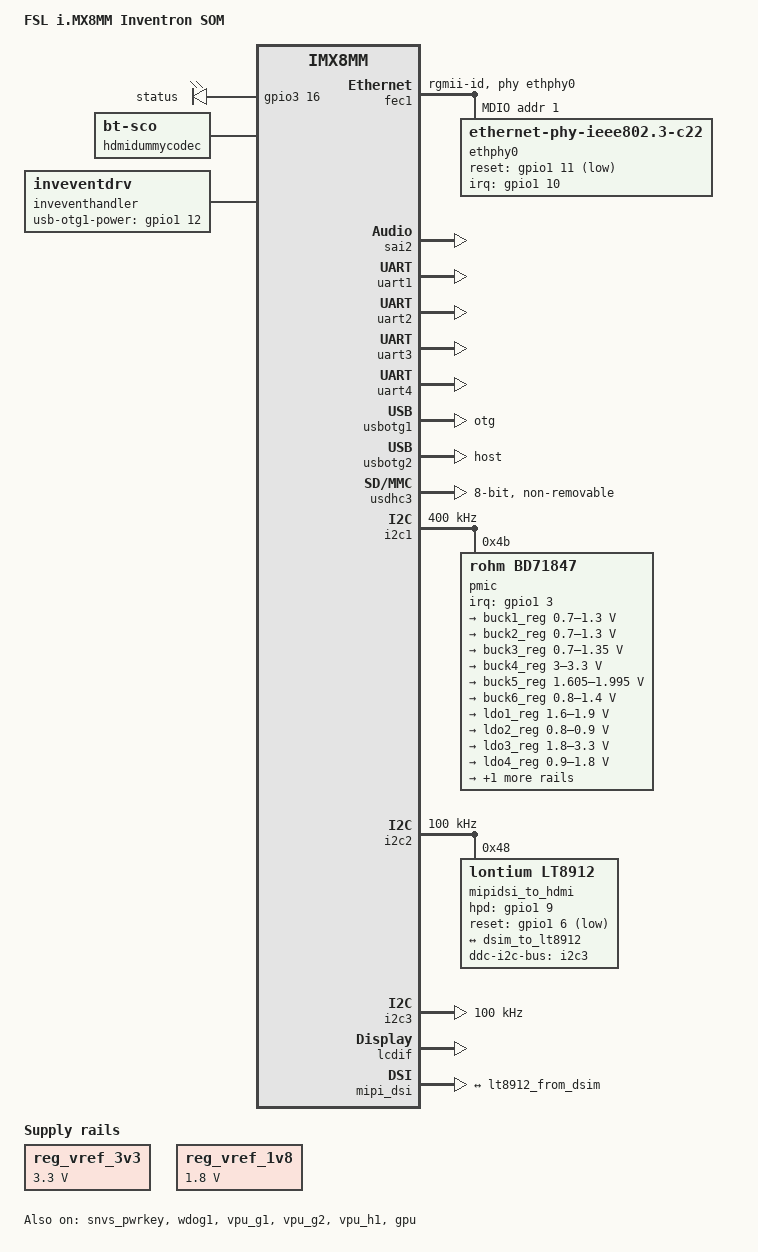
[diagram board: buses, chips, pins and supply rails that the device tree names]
// SPDX-License-Identifier: (GPL-2.0+ OR MIT)
/*
 * Copyright 2019 NXP
 */

/dts-v1/;

#include <dt-bindings/usb/pd.h>
#include "imx8mm-invsom.dtsi"

/ {
	model = "FSL i.MX8MM Inventron SOM";
	compatible = "fsl,imx8mm-invsom", "fsl,imx8mm";

	reserved-memory {
		#address-cells = <2>;
		#size-cells = <2>;
		ranges;

		rpmsg_reserved: rpmsg@0xb8000000 {
			no-map;
			reg = <0 0xb8000000 0 0x400000>;
		};
	};

	chosen {
		stdout-path = &uart4;
	};

	leds {
		compatible = "gpio-leds";
		pinctrl-names = "default";
		pinctrl-0 = <&pinctrl_gpio_led>;
		status = "okay";
		status {
			label = "status";
			gpios = <&gpio3 16 GPIO_ACTIVE_HIGH>;
			default-state = "on";
			linux,default-trigger = "heartbeat";
		};
	};

	reg_vref_3v3: regulator-vref {
	  	compatible = "regulator-fixed";
	  	regulator-name = "vref-3v3";
	  	regulator-min-microvolt = <3300000>;
	  	regulator-max-microvolt = <3300000>;
	  	regulator-always-on;
	 	regulator-boot-on;		  
	};
	
	reg_vref_1v8: regulator-vref-1v8 { /* V1.8 */
		compatible = "regulator-fixed";
		regulator-name = "vref-1v8";
		regulator-min-microvolt = <1800000>;
		regulator-max-microvolt = <1800000>;
		regulator-always-on;
	  	regulator-boot-on;		  
	};

	sound-i2s {
		compatible = "simple-audio-card";
		simple-audio-card,name = "i2s-hdmi-audio";
		simple-audio-card,format = "i2s";
		simple-audio-card,bitclock-master = <&dailinkhdmi_master>;
		simple-audio-card,frame-master = <&dailinkhdmi_master>;
		status = "okay";
		
		simple-audio-card,widgets =
	 		"Headphone", "Headphone Jack";
	 	simple-audio-card,routing =
	 		"Headphone Jack", "TX";

		dailinkhdmi_master: simple-audio-card,cpu {
			sound-dai = <&sai2>;
			dai-tdm-slot-num = <2>;
			dai-tdm-slot-width = <32>;
		};

		simple-audio-card,codec {
			sound-dai = <&hdmidummycodec>;
			clocks = <&clk IMX8MM_CLK_SAI2_ROOT>;
		};
	};

	hdmidummycodec: codec1 {
		#sound-dai-cells = <0>;
		compatible = "linux,bt-sco";
		status = "okay";
	};

	sound-micfil {
		compatible = "fsl,imx-audio-micfil";
		model = "imx-audio-micfil";
		cpu-dai = <&micfil>;
		status = "okay";
	};
	
	
	inveventhandler {
		compatible = "inveventdrv";
		status = "okay";
		
		usb-otg1-power-gpio = <&gpio1 12 GPIO_ACTIVE_HIGH>;
	};	
};

&A53_0 {
	cpu-supply = <&buck2_reg>;
};

&fec1 {
	pinctrl-names = "default", "sleep";
	pinctrl-0 = <&pinctrl_fec1>;
	pinctrl-1 = <&pinctrl_fec1_sleep>;
	phy-mode = "rgmii-id";
	phy-handle = <&ethphy0>;
	fsl,magic-packet;
	status = "okay";

	mdio {
		#address-cells = <1>;
		#size-cells = <0>;

		ethphy0: ethernet-phy@1 {
			compatible = "ethernet-phy-ieee802.3-c22";
			pinctrl-0 = <&pinctrl_phy_reset>;
			pinctrl-names = "default";
			rtl821x,clkout_en;
			reset-gpios = <&gpio1 11 GPIO_ACTIVE_LOW>;
			reset-assert-us = <10000>;
			reset-deassert-us = <50000>;
			interrupt-parent = <&gpio1>;
			interrupts = <10 IRQ_TYPE_LEVEL_LOW>;
			reg = <1>;
		};
	};
};

&sai2 { // HDMI Sound
	#sound-dai-cells = <0>;
	pinctrl-names = "default";
	pinctrl-0 = <&pinctrl_sai2>;
	assigned-clocks = <&clk IMX8MM_CLK_SAI2>;
	assigned-clock-parents = <&clk IMX8MM_AUDIO_PLL1_OUT>;
	assigned-clock-rates = <24576000>;
	status = "okay";
};

&snvs_pwrkey {
	status = "okay";
};

&uart1 {
	pinctrl-names = "default";
	pinctrl-0 = <&pinctrl_uart1>;
	status = "okay";
};

&uart2 {
	pinctrl-names = "default";
	pinctrl-0 = <&pinctrl_uart2>;
	status = "okay";
};

&uart3 {
	pinctrl-names = "default";
	pinctrl-0 = <&pinctrl_uart3>;
	status = "okay";
};

&uart4 { /* console */
	pinctrl-names = "default";
	pinctrl-0 = <&pinctrl_uart4>;
	status = "okay";
};

&usbotg1 {
	dr_mode = "otg";
	hnp-disable;
	srp-disable;
	adp-disable;
	disable-over-current;
	status = "okay";
};

&usbotg2 {
	dr_mode = "host";
	disable-over-current;
	status = "okay";
};

&usdhc3 { 				// emmc
	pinctrl-names = "default", "state_100mhz", "state_200mhz";
	pinctrl-0 = <&pinctrl_usdhc3>;
	pinctrl-1 = <&pinctrl_usdhc3_100mhz>;
	pinctrl-2 = <&pinctrl_usdhc3_200mhz>;
	bus-width = <8>;
	non-removable;
	status = "okay";
};

&wdog1 {
	pinctrl-names = "default";
	pinctrl-0 = <&pinctrl_wdog>;
	fsl,ext-reset-output;
	status = "okay";
};

&i2c1 {
	clock-frequency = <400000>;
	pinctrl-names = "default";
	pinctrl-0 = <&pinctrl_i2c1>;
	status = "okay";

	pmic@4b {
		compatible = "rohm,bd71847";
		reg = <0x4b>;
		pinctrl-0 = <&pinctrl_pmic>;
		interrupt-parent = <&gpio1>;
		interrupts = <3 GPIO_ACTIVE_LOW>;
		rohm,reset-snvs-powered;

		regulators {
			buck1_reg: BUCK1 {
				regulator-name = "BUCK1";
				regulator-min-microvolt = <700000>;
				regulator-max-microvolt = <1300000>;
				regulator-boot-on;
				regulator-always-on;
				regulator-ramp-delay = <1250>;
			};

			buck2_reg: BUCK2 {
				regulator-name = "BUCK2";
				regulator-min-microvolt = <700000>;
				regulator-max-microvolt = <1300000>;
				regulator-boot-on;
				regulator-always-on;
				regulator-ramp-delay = <1250>;
				rohm,dvs-run-voltage = <1000000>;
				rohm,dvs-idle-voltage = <900000>;
			};

			buck3_reg: BUCK3 {
				// BUCK5 in datasheet
				regulator-name = "BUCK3";
				regulator-min-microvolt = <700000>;
				regulator-max-microvolt = <1350000>;
				regulator-boot-on;
				regulator-always-on;
			};

			buck4_reg: BUCK4 {
				// BUCK6 in datasheet
				regulator-name = "BUCK4";
				regulator-min-microvolt = <3000000>;
				regulator-max-microvolt = <3300000>;
				regulator-boot-on;
				regulator-always-on;
			};

			buck5_reg: BUCK5 {
				// BUCK7 in datasheet
				regulator-name = "BUCK5";
				regulator-min-microvolt = <1605000>;
				regulator-max-microvolt = <1995000>;
				regulator-boot-on;
				regulator-always-on;
			};

			buck6_reg: BUCK6 {
				// BUCK8 in datasheet
				regulator-name = "BUCK6";
				regulator-min-microvolt = <800000>;
				regulator-max-microvolt = <1400000>;
				regulator-boot-on;
				regulator-always-on;
			};

			ldo1_reg: LDO1 {
				regulator-name = "LDO1";
				regulator-min-microvolt = <1600000>;
				regulator-max-microvolt = <1900000>;
				regulator-boot-on;
				regulator-always-on;
			};

			ldo2_reg: LDO2 {
				regulator-name = "LDO2";
				regulator-min-microvolt = <800000>;
				regulator-max-microvolt = <900000>;
				regulator-boot-on;
				regulator-always-on;
			};

			ldo3_reg: LDO3 {
				regulator-name = "LDO3";
				regulator-min-microvolt = <1800000>;
				regulator-max-microvolt = <3300000>;
				regulator-boot-on;
				regulator-always-on;
			};

			ldo4_reg: LDO4 {
				regulator-name = "LDO4";
				regulator-min-microvolt = <900000>;
				regulator-max-microvolt = <1800000>;
				regulator-boot-on;
				regulator-always-on;
			};

			ldo6_reg: LDO6 {
				regulator-name = "LDO6";
				regulator-min-microvolt = <900000>;
				regulator-max-microvolt = <1800000>;
				regulator-boot-on;
				regulator-always-on;
			};
		};
	};
};

&i2c2 {
	clock-frequency = <100000>;
	pinctrl-names = "default";
	pinctrl-0 = <&pinctrl_i2c2>;
	status = "okay";

	mipidsi_to_hdmi: lt8912@48 {
		compatible = "lontium,lt8912";
		pinctrl-names = "default";
		pinctrl-0 = <&pinctrl_gpio_hpd &pinctrl_gpio_reset>;
		reg = <0x48>;
		ddc-i2c-bus = <&i2c3>;
		hpd-gpios = <&gpio1 9 GPIO_ACTIVE_HIGH>;
		reset-gpios = <&gpio1 6 GPIO_ACTIVE_LOW>;
		clocks = <&clk IMX8MM_CLK_CLKO1>;
		clock-names = "hdmi_clk";
		assigned-clocks = <&clk IMX8MM_CLK_CLKO1>;
		assigned-clock-parents = <&clk IMX8MM_SYS_PLL1_200M>;
		assigned-clock-rates = <25000000>;
		status = "okay";
		port {
			lt8912_from_dsim: endpoint {
				remote-endpoint = <&dsim_to_lt8912>;
			};
		};

		display-timings {
			native-mode = <&timing1>;

			timing0: timing0 {
				clock-frequency = <74250000>;
				hactive = <1280>;
				vactive = <720>;
				hfront-porch = <110>;
				hsync-len = <40>;
				hback-porch = <220>;
				vfront-porch = <5>;
				vsync-len = <5>;
				vback-porch = <20>;
				hsync-active = <0>;
				vsync-active = <0>;
				de-active = <0>;
				pixelclk-active = <0>;
				};

			timing1: timing1 {
				clock-frequency = <148500000>;
				hactive = <1920>;
				vactive = <1080>;
				hfront-porch = <88>;
				hsync-len = <44>;
				hback-porch = <148>;
				vfront-porch = <36>;
				vsync-len = <5>;
				vback-porch = <4>;
				hsync-active = <0>;
				vsync-active = <0>;
				de-active = <0>;
				pixelclk-active = <0>;
				};
		};
	};
};

&i2c3 {
	clock-frequency = <100000>;
	pinctrl-names = "default";
	pinctrl-0 = <&pinctrl_i2c3>;
	status = "okay";
};

&i2c4 {
	clock-frequency = <100000>;
	pinctrl-names = "default";
	pinctrl-0 = <&pinctrl_i2c4>;
	status = "disabled";
};

&iomuxc {
	pinctrl-names = "default";
	pinctrl-0 = <&pinctrl_hog_1>;

	pinctrl_hog_1: hoggrp-1 {
		fsl,pins = <
			MX8MM_IOMUXC_ECSPI1_SS0_GPIO5_IO9	   0x184
			MX8MM_IOMUXC_ECSPI1_MISO_GPIO5_IO8	   0x184
			MX8MM_IOMUXC_ECSPI2_SS0_GPIO5_IO13	   0x184
			MX8MM_IOMUXC_ECSPI2_SCLK_GPIO5_IO10	   0x184
			MX8MM_IOMUXC_ECSPI2_MISO_GPIO5_IO12    0x184
			MX8MM_IOMUXC_ECSPI2_MOSI_GPIO5_IO11	   0x184
			MX8MM_IOMUXC_SPDIF_TX_GPIO5_IO3		   0x184
			MX8MM_IOMUXC_SPDIF_RX_GPIO5_IO4		   0x184
			MX8MM_IOMUXC_SPDIF_EXT_CLK_GPIO5_IO5   0x184
			MX8MM_IOMUXC_SAI3_MCLK_GPIO5_IO2	   0x184
			MX8MM_IOMUXC_SAI2_RXFS_GPIO4_IO21	   0x184
			MX8MM_IOMUXC_SD2_WP_GPIO2_IO20		   0x184
			MX8MM_IOMUXC_SD1_STROBE_GPIO2_IO11	   0x184
			MX8MM_IOMUXC_GPIO1_IO01_GPIO1_IO1	   0x184
			MX8MM_IOMUXC_GPIO1_IO05_GPIO1_IO5	   0x184
			MX8MM_IOMUXC_SAI2_RXD0_GPIO4_IO23	   0x184
			MX8MM_IOMUXC_SAI2_MCLK_GPIO4_IO27	   0x184
			MX8MM_IOMUXC_SAI3_RXFS_GPIO4_IO28	   0x184
			MX8MM_IOMUXC_SAI5_RXFS_GPIO3_IO19	   0x184
			MX8MM_IOMUXC_SAI5_RXD3_GPIO3_IO24	   0x184
			MX8MM_IOMUXC_SAI5_RXC_GPIO3_IO20	   0x184
			MX8MM_IOMUXC_SAI5_RXD0_GPIO3_IO21	   0x184
			MX8MM_IOMUXC_SAI5_RXD1_GPIO3_IO22	   0x184
			MX8MM_IOMUXC_SAI5_RXD2_GPIO3_IO23	   0x184
			MX8MM_IOMUXC_SAI3_RXC_GPIO4_IO29	   0x184
			MX8MM_IOMUXC_SAI5_MCLK_GPIO3_IO25	   0x184
			MX8MM_IOMUXC_SAI2_RXC_GPIO4_IO22	   0x184
			MX8MM_IOMUXC_SAI3_RXD_GPIO4_IO30	   0x184
			MX8MM_IOMUXC_SAI3_TXD_GPIO5_IO1		   0x184
			MX8MM_IOMUXC_SAI3_TXC_GPIO5_IO0		   0x184
			MX8MM_IOMUXC_SAI3_TXFS_GPIO4_IO31	   0x184
			MX8MM_IOMUXC_GPIO1_IO15_GPIO1_IO15	   0x184
			MX8MM_IOMUXC_SAI1_TXFS_GPIO4_IO10	   0x184
			MX8MM_IOMUXC_SAI1_TXC_GPIO4_IO11	   0x184
			MX8MM_IOMUXC_SAI1_MCLK_GPIO4_IO20	   0x184
			MX8MM_IOMUXC_SAI1_RXFS_GPIO4_IO0	   0x184
			MX8MM_IOMUXC_SAI1_RXC_GPIO4_IO1		   0x184
			MX8MM_IOMUXC_GPIO1_IO08_GPIO1_IO8	   0x184
			MX8MM_IOMUXC_SD1_DATA0_GPIO2_IO2	   0x184
			MX8MM_IOMUXC_SD1_DATA1_GPIO2_IO3	   0x184
			MX8MM_IOMUXC_SD1_DATA2_GPIO2_IO4	   0x184
			MX8MM_IOMUXC_SD1_DATA3_GPIO2_IO5	   0x184
			MX8MM_IOMUXC_SD1_DATA4_GPIO2_IO6	   0x184
			MX8MM_IOMUXC_SD1_DATA5_GPIO2_IO7	   0x184
			MX8MM_IOMUXC_SD1_DATA6_GPIO2_IO8	   0x184
			MX8MM_IOMUXC_SD1_DATA7_GPIO2_IO9	   0x184
			MX8MM_IOMUXC_SD1_CLK_GPIO2_IO0		   0x184
			MX8MM_IOMUXC_SD1_CMD_GPIO2_IO1	 	   0x184
			MX8MM_IOMUXC_SD1_RESET_B_GPIO2_IO10	   0x184
			MX8MM_IOMUXC_UART3_RXD_GPIO5_IO26	   0x184
			MX8MM_IOMUXC_UART3_TXD_GPIO5_IO27	   0x184
		>;
	};
	
	pinctrl_gpio_hpd: gpio-hpd {
		fsl,pins = <
			MX8MM_IOMUXC_GPIO1_IO09_GPIO1_IO9		0x184
		>;
	};

	pinctrl_gpio_reset: gpio-rst {
		fsl,pins = <
			MX8MM_IOMUXC_GPIO1_IO06_GPIO1_IO6		0x20
		>;
	};
	
	pinctrl_phy_reset: phy-reset {
		fsl,pins = <
			MX8MM_IOMUXC_GPIO1_IO11_GPIO1_IO11      0x19 	
		>;
	};

	pinctrl_fec1: fec1grp {
		fsl,pins = <
			MX8MM_IOMUXC_ENET_MDC_ENET1_MDC			0x3
			MX8MM_IOMUXC_ENET_MDIO_ENET1_MDIO		0x3
			MX8MM_IOMUXC_ENET_TD3_ENET1_RGMII_TD3		0x1f
			MX8MM_IOMUXC_ENET_TD2_ENET1_RGMII_TD2		0x1f
			MX8MM_IOMUXC_ENET_TD1_ENET1_RGMII_TD1		0x1f
			MX8MM_IOMUXC_ENET_TD0_ENET1_RGMII_TD0		0x1f
			MX8MM_IOMUXC_ENET_RD3_ENET1_RGMII_RD3		0x91
			MX8MM_IOMUXC_ENET_RD2_ENET1_RGMII_RD2		0x91
			MX8MM_IOMUXC_ENET_RD1_ENET1_RGMII_RD1		0x91
			MX8MM_IOMUXC_ENET_RD0_ENET1_RGMII_RD0		0x91
			MX8MM_IOMUXC_ENET_TXC_ENET1_RGMII_TXC		0x7 // 0x1f
			MX8MM_IOMUXC_ENET_RXC_ENET1_RGMII_RXC		0x91
			MX8MM_IOMUXC_ENET_RX_CTL_ENET1_RGMII_RX_CTL	0x91
			MX8MM_IOMUXC_ENET_TX_CTL_ENET1_RGMII_TX_CTL	0x1f
			MX8MM_IOMUXC_GPIO1_IO10_GPIO1_IO10 		0x1c4 // ethernet interrupt
		>;
	};
	
	pinctrl_fec1_sleep: fec1-sleepgrp {
		fsl,pins = <
			MX8MM_IOMUXC_ENET_MDC_ENET1_MDC			0x3
			MX8MM_IOMUXC_ENET_MDIO_ENET1_MDIO		0x3
			MX8MM_IOMUXC_ENET_TD3_GPIO1_IO18		0x1f
			MX8MM_IOMUXC_ENET_TD2_GPIO1_IO19		0x1f
			MX8MM_IOMUXC_ENET_TD1_GPIO1_IO20		0x1f
			MX8MM_IOMUXC_ENET_TD0_GPIO1_IO21		0x1f
			MX8MM_IOMUXC_ENET_RD3_ENET1_RGMII_RD3		0x91
			MX8MM_IOMUXC_ENET_RD2_ENET1_RGMII_RD2		0x91
			MX8MM_IOMUXC_ENET_RD1_ENET1_RGMII_RD1		0x91
			MX8MM_IOMUXC_ENET_RD0_ENET1_RGMII_RD0		0x91
			MX8MM_IOMUXC_ENET_TXC_GPIO1_IO23		0x1f
			MX8MM_IOMUXC_ENET_RXC_ENET1_RGMII_RXC		0x91
			MX8MM_IOMUXC_ENET_RX_CTL_ENET1_RGMII_RX_CTL	0x91
			MX8MM_IOMUXC_ENET_TX_CTL_GPIO1_IO22		0x1f
			MX8MM_IOMUXC_GPIO1_IO10_GPIO1_IO10		0x184
			MX8MM_IOMUXC_GPIO1_IO11_GPIO1_IO11         	0x19 // ENET_nRST
		>;
	};

	pinctrl_gpio_led: gpioledgrp {
		fsl,pins = <
			MX8MM_IOMUXC_NAND_READY_B_GPIO3_IO16	0x19
		>;
	};

	pinctrl_i2c1: i2c1grp {
		fsl,pins = <
			MX8MM_IOMUXC_I2C1_SCL_I2C1_SCL			0x400001c3
			MX8MM_IOMUXC_I2C1_SDA_I2C1_SDA			0x400001c3
		>;
	};

	pinctrl_i2c2: i2c2grp {
		fsl,pins = <
			MX8MM_IOMUXC_I2C2_SCL_I2C2_SCL			0x400001c3
			MX8MM_IOMUXC_I2C2_SDA_I2C2_SDA			0x400001c3
		>;
	};

	pinctrl_i2c3: i2c3grp {
		fsl,pins = <
			MX8MM_IOMUXC_I2C3_SCL_I2C3_SCL			0x400001c3
			MX8MM_IOMUXC_I2C3_SDA_I2C3_SDA			0x400001c3
		>;
	};
	
	pinctrl_i2c4: i2c4grp {
		fsl,pins = <
			MX8MM_IOMUXC_I2C4_SCL_I2C4_SCL			0x400001c3
			MX8MM_IOMUXC_I2C4_SDA_I2C4_SDA			0x400001c3
		>;
	};	

	pinctrl_pmic: pmicirq {
		fsl,pins = <
			MX8MM_IOMUXC_GPIO1_IO03_GPIO1_IO3		0x41
		>;
	};

	pinctrl_sai2: sai2grp { // lt8912 hdmi sound
		fsl,pins = <
			MX8MM_IOMUXC_SAI2_TXC_SAI2_TX_BCLK      0xd6
			MX8MM_IOMUXC_SAI2_TXFS_SAI2_TX_SYNC     0xd6
			MX8MM_IOMUXC_SAI2_TXD0_SAI2_TX_DATA0    0xd6
		>;
	};

	pinctrl_uart1: uart1grp {
		fsl,pins = <
			MX8MM_IOMUXC_UART1_RXD_UART1_DCE_RX	0x140
			MX8MM_IOMUXC_UART1_TXD_UART1_DCE_TX	0x140
		>;
	};

	pinctrl_uart2: uart2grp {
		fsl,pins = <
			MX8MM_IOMUXC_UART2_RXD_UART2_DCE_RX	0x140
			MX8MM_IOMUXC_UART2_TXD_UART2_DCE_TX	0x140
		>;
	};

	pinctrl_uart3: uart3grp {
		fsl,pins = <
			MX8MM_IOMUXC_ECSPI1_SCLK_UART3_DCE_RX		0x140
			MX8MM_IOMUXC_ECSPI1_MOSI_UART3_DCE_TX		0x140
		>;
	};

	pinctrl_uart4: uart4grp {
		fsl,pins = <
			MX8MM_IOMUXC_UART4_RXD_UART4_DCE_RX	0x140
			MX8MM_IOMUXC_UART4_TXD_UART4_DCE_TX	0x140
		>;
	};

	pinctrl_ccm1: ccm1grp { // clockoutput
		fsl,pins = <
			MX8MM_IOMUXC_GPIO1_IO14_CCMSRCGPCMIX_CLKO1	0x1c4
		>;
	};

	pinctrl_usdhc3: usdhc3grp {
		fsl,pins = <
			MX8MM_IOMUXC_NAND_WE_B_USDHC3_CLK		0x190
			MX8MM_IOMUXC_NAND_WP_B_USDHC3_CMD		0x1d0
			MX8MM_IOMUXC_NAND_DATA04_USDHC3_DATA0		0x1d0
			MX8MM_IOMUXC_NAND_DATA05_USDHC3_DATA1		0x1d0
			MX8MM_IOMUXC_NAND_DATA06_USDHC3_DATA2		0x1d0
			MX8MM_IOMUXC_NAND_DATA07_USDHC3_DATA3		0x1d0
			MX8MM_IOMUXC_NAND_RE_B_USDHC3_DATA4		0x1d0
			MX8MM_IOMUXC_NAND_CE2_B_USDHC3_DATA5		0x1d0
			MX8MM_IOMUXC_NAND_CE3_B_USDHC3_DATA6		0x1d0
			MX8MM_IOMUXC_NAND_CLE_USDHC3_DATA7		0x1d0
			MX8MM_IOMUXC_NAND_CE1_B_USDHC3_STROBE 		0x190
		>;
	};

	pinctrl_usdhc3_100mhz: usdhc3grp100mhz {
		fsl,pins = <
			MX8MM_IOMUXC_NAND_WE_B_USDHC3_CLK		0x194
			MX8MM_IOMUXC_NAND_WP_B_USDHC3_CMD		0x1d4
			MX8MM_IOMUXC_NAND_DATA04_USDHC3_DATA0		0x1d4
			MX8MM_IOMUXC_NAND_DATA05_USDHC3_DATA1		0x1d4
			MX8MM_IOMUXC_NAND_DATA06_USDHC3_DATA2		0x1d4
			MX8MM_IOMUXC_NAND_DATA07_USDHC3_DATA3		0x1d4
			MX8MM_IOMUXC_NAND_RE_B_USDHC3_DATA4		0x1d4
			MX8MM_IOMUXC_NAND_CE2_B_USDHC3_DATA5		0x1d4
			MX8MM_IOMUXC_NAND_CE3_B_USDHC3_DATA6		0x1d4
			MX8MM_IOMUXC_NAND_CLE_USDHC3_DATA7		0x1d4
			MX8MM_IOMUXC_NAND_CE1_B_USDHC3_STROBE 		0x194
		>;
	};

	pinctrl_usdhc3_200mhz: usdhc3grp200mhz {
		fsl,pins = <
			MX8MM_IOMUXC_NAND_WE_B_USDHC3_CLK		0x196
			MX8MM_IOMUXC_NAND_WP_B_USDHC3_CMD		0x1d6
			MX8MM_IOMUXC_NAND_DATA04_USDHC3_DATA0		0x1d6
			MX8MM_IOMUXC_NAND_DATA05_USDHC3_DATA1		0x1d6
			MX8MM_IOMUXC_NAND_DATA06_USDHC3_DATA2		0x1d6
			MX8MM_IOMUXC_NAND_DATA07_USDHC3_DATA3		0x1d6
			MX8MM_IOMUXC_NAND_RE_B_USDHC3_DATA4		0x1d6
			MX8MM_IOMUXC_NAND_CE2_B_USDHC3_DATA5		0x1d6
			MX8MM_IOMUXC_NAND_CE3_B_USDHC3_DATA6		0x1d6
			MX8MM_IOMUXC_NAND_CLE_USDHC3_DATA7		0x1d6
			MX8MM_IOMUXC_NAND_CE1_B_USDHC3_STROBE 		0x196
		>;
	};

	pinctrl_wdog: wdoggrp {
		fsl,pins = <
			MX8MM_IOMUXC_GPIO1_IO02_WDOG1_WDOG_B	0xc6
		>;
	};
};

&lcdif {
	status = "okay";
};

&mipi_dsi {
	status = "okay";

	port@1 {
		dsim_to_lt8912: endpoint {
			remote-endpoint = <&lt8912_from_dsim>;
			attach-bridge;
		};
	};
};

&vpu_g1 {
	status = "okay";
};

&vpu_g2 {
	status = "okay";
};

&vpu_h1 {
	status = "okay";
};

&gpu {
	status = "okay";
};
